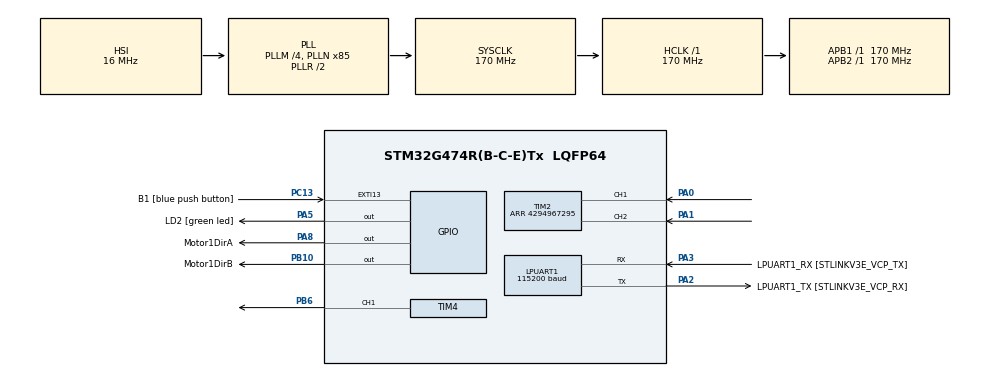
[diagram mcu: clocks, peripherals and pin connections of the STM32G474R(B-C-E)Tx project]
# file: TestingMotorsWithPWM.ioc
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LPUART1.BaudRate=115200
Mcu.Family=STM32G4
Mcu.Name=STM32G474R(B-C-E)Tx
Mcu.Package=LQFP64
NVIC.EXTI15_10_IRQn=true\:0\:0\:false\:false\:true\:true\:true\:true
NVIC.PriorityGroup=NVIC_PRIORITYGROUP_4
NVIC.TIM1_UP_TIM16_IRQn=true\:0\:0\:false\:true\:true\:1\:true\:true\:true
PA0.Signal=S_TIM2_CH1
PA1.Signal=S_TIM2_CH2
PA13.GPIO_Label=T_SWDIO
PA13.Mode=Serial_Wire
PA13.Signal=SYS_JTMS-SWDIO
PA14.GPIO_Label=T_SWCLK
PA14.Mode=Serial_Wire
PA14.Signal=SYS_JTCK-SWCLK
PA2.GPIO_Label=LPUART1_TX [STLINKV3E_VCP_RX]
PA2.Mode=Asynchronous
PA2.Signal=LPUART1_TX
PA3.GPIO_Label=LPUART1_RX [STLINKV3E_VCP_TX]
PA3.Mode=Asynchronous
PA3.Signal=LPUART1_RX
PA5.GPIO_Label=LD2 [green led]
PA5.Signal=GPIO_Output
PA8.GPIO_Label=Motor1DirA
PA8.Signal=GPIO_Output
PB10.GPIO_Label=Motor1DirB
PB10.Signal=GPIO_Output
PB3.GPIO_Label=T_SWO
PB3.Signal=SYS_JTDO-SWO
PB6.Signal=S_TIM4_CH1
PC13.GPIO_Label=B1 [blue push button]
PC13.Signal=GPXTI13
PC14-OSC32_IN.GPIO_Label=RCC_OSC32_IN
PC14-OSC32_IN.Mode=LSE-External-Oscillator
PC14-OSC32_IN.Signal=RCC_OSC32_IN
PC15-OSC32_OUT.GPIO_Label=RCC_OSC32_OUT
PC15-OSC32_OUT.Mode=LSE-External-Oscillator
PC15-OSC32_OUT.Signal=RCC_OSC32_OUT
PF0-OSC_IN.GPIO_Label=RCC_OSC_IN
PF0-OSC_IN.Mode=HSE-External-Oscillator
PF0-OSC_IN.Signal=RCC_OSC_IN
PF1-OSC_OUT.GPIO_Label=RCC_OSC_OUT
PF1-OSC_OUT.Mode=HSE-External-Oscillator
PF1-OSC_OUT.Signal=RCC_OSC_OUT
ProjectManager.HeapSize=0x200
ProjectManager.StackSize=0x400
ProjectManager.TargetToolchain=STM32CubeIDE
RCC.ADC12Freq_Value=170000000
RCC.ADC345Freq_Value=170000000
RCC.AHBFreq_Value=170000000
RCC.APB1Freq_Value=170000000
RCC.APB1TimFreq_Value=170000000
RCC.APB2Freq_Value=170000000
RCC.APB2TimFreq_Value=170000000
RCC.CortexFreq_Value=170000000
RCC.EXTERNAL_CLOCK_VALUE=12288000
RCC.HCLKFreq_Value=170000000
RCC.HSE_VALUE=24000000
RCC.HSI48_VALUE=48000000
RCC.HSI_VALUE=16000000
RCC.PLLM=RCC_PLLM_DIV4
RCC.PLLN=85
RCC.RTCClockSelection=RCC_RTCCLKSOURCE_LSE
RCC.SYSCLKFreq_VALUE=170000000
RCC.SYSCLKSource=RCC_SYSCLKSOURCE_PLLCLK
RCC.USBFreq_Value=170000000
RCC.VCOOutputFreq_Value=340000000
SH.S_TIM2_CH1.0=TIM2_CH1,Encoder_Interface
SH.S_TIM2_CH2.0=TIM2_CH2,Encoder_Interface
SH.S_TIM4_CH1.0=TIM4_CH1,PWM Generation1 CH1
TIM1.Channel-Output\ Compare1\ No\ Output=TIM_CHANNEL_1
TIM1.PeriodNoDither=99
TIM1.Prescaler=16999
TIM2.EncoderMode=TIM_ENCODERMODE_TI12
TIM2.IC1Filter=10
TIM2.IC2Filter=10
TIM2.PeriodNoDither=4294967295
TIM4.Channel-PWM\ Generation1\ CH1=TIM_CHANNEL_1
TIM4.PeriodNoDither=99
TIM4.Prescaler=16999
VP_SYS_VS_DBSignals.Mode=DisableDeadBatterySignals
VP_TIM1_VS_ClockSourceINT.Mode=Internal
VP_TIM1_VS_no_output1.Mode=Output Compare1 No Output
VP_TIM4_VS_ClockSourceINT.Mode=Internal
board=NUCLEO-G474RE

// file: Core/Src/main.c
/* USER CODE BEGIN Header */
/**
  ******************************************************************************
  * @file           : main.c
  * @brief          : Main program body
  ******************************************************************************
  * @attention
  *
  * Copyright (c) 2025 STMicroelectronics.
  * All rights reserved.
  *
  * This software is licensed under terms that can be found in the LICENSE file
  * in the root directory of this software component.
  * If no LICENSE file comes with this software, it is provided AS-IS.
  *
  ******************************************************************************
  */
/* USER CODE END Header */
#include "main.h"
#include "usart.h"
#include "tim.h"
#include "gpio.h"

/* USER CODE BEGIN Includes */
#include "motor_simple.h"
#include "Encoder.h"
#include "PID.h"
#include <stdio.h>
#include <string.h>
/* USER CODE END Includes */

/* USER CODE BEGIN PD */
#define PULSES_PER_REV 1320
#define ENCODER_DT  0.01f  // 10ms = 0.01s
/* USER CODE END PD */

/* USER CODE BEGIN PV */
//Motors
Motor_t Motor;
uint16_t PWM;

//Encoder
Encoder_t EncoderRight;
float EncoderRightSpeed = 0.0f;

//PID S
PID_t EncoderPid;

float EncoderP = 2.8;
float EncoderI = 28.0;
float EncoderD = 0.03;

float EncoderSampleTime = 0.01;

float EncoderMaxValue = 300.0;
float EncoderMinValue = -300.0;

float pwmInput = 0;

volatile float EncoderRightPidValue;
float SetVelocity = 100;

volatile uint8_t EncoderCallbackFlag = 0;

//printing via uart
char Message[128];
/* USER CODE END PV */

void SystemClock_Config(void);
static void MX_NVIC_Init(void);
/* USER CODE BEGIN PFP */
float MapValues(float MaxValue, float Value);

/* USER CODE END PFP */

int main(void)
{

  /* MCU Configuration--------------------------------------------------------*/

  /* Reset of all peripherals, Initializes the Flash interface and the Systick. */
  HAL_Init();

  /* Configure the system clock */
  SystemClock_Config();

  /* Initialize all configured peripherals */
  MX_GPIO_Init();
  MX_LPUART1_UART_Init();
  MX_TIM4_Init();
  MX_TIM2_Init();
  MX_TIM1_Init();

  /* Initialize interrupts */
  MX_NVIC_Init();
  /* USER CODE BEGIN 2 */
  HAL_TIM_Base_Start_IT(&htim1);
  HAL_TIM_Encoder_Start(&htim2, TIM_CHANNEL_ALL);
  HAL_TIM_PWM_Start(&htim4, TIM_CHANNEL_1);

  Motor_Init(&Motor, &htim4, TIM_CHANNEL_1, PWM, Motor1DirA_GPIO_Port, Motor1DirA_Pin, Motor1DirB_GPIO_Port, Motor1DirB_Pin);
  Encoder_Init(&EncoderRight, &htim2, PULSES_PER_REV, ENCODER_DT);
  PID_Init(&EncoderPid, EncoderP, EncoderI, EncoderD, EncoderSampleTime, EncoderMaxValue, EncoderMinValue);

  /* USER CODE END 2 */

  /* Infinite loop */
  /* USER CODE BEGIN WHILE */
  while (1)
  {
	  if(EncoderCallbackFlag)
	  {
		  EncoderCallbackFlag = 0;

		  sprintf(Message, "%.3f\n", EncoderRightSpeed);
		  HAL_UART_Transmit(&hlpuart1,(uint8_t*) Message, strlen(Message), HAL_MAX_DELAY);
	  }

    /* USER CODE END WHILE */

  }
}

void SystemClock_Config(void)
{
  RCC_OscInitTypeDef RCC_OscInitStruct = {0};
  RCC_ClkInitTypeDef RCC_ClkInitStruct = {0};

  /** Configure the main internal regulator output voltage
  */
  HAL_PWREx_ControlVoltageScaling(PWR_REGULATOR_VOLTAGE_SCALE1_BOOST);

  /** Initializes the RCC Oscillators according to the specified parameters
  * in the RCC_OscInitTypeDef structure.
  */
  RCC_OscInitStruct.OscillatorType = RCC_OSCILLATORTYPE_HSI;
  RCC_OscInitStruct.HSIState = RCC_HSI_ON;
  RCC_OscInitStruct.HSICalibrationValue = RCC_HSICALIBRATION_DEFAULT;
  RCC_OscInitStruct.PLL.PLLState = RCC_PLL_ON;
  RCC_OscInitStruct.PLL.PLLSource = RCC_PLLSOURCE_HSI;
  RCC_OscInitStruct.PLL.PLLM = RCC_PLLM_DIV4;
  RCC_OscInitStruct.PLL.PLLN = 85;
  RCC_OscInitStruct.PLL.PLLP = RCC_PLLP_DIV2;
  RCC_OscInitStruct.PLL.PLLQ = RCC_PLLQ_DIV2;
  RCC_OscInitStruct.PLL.PLLR = RCC_PLLR_DIV2;
  if (HAL_RCC_OscConfig(&RCC_OscInitStruct) != HAL_OK)
  {
    Error_Handler();
  }

  /** Initializes the CPU, AHB and APB buses clocks
  */
  RCC_ClkInitStruct.ClockType = RCC_CLOCKTYPE_HCLK|RCC_CLOCKTYPE_SYSCLK
                              |RCC_CLOCKTYPE_PCLK1|RCC_CLOCKTYPE_PCLK2;
  RCC_ClkInitStruct.SYSCLKSource = RCC_SYSCLKSOURCE_PLLCLK;
  RCC_ClkInitStruct.AHBCLKDivider = RCC_SYSCLK_DIV1;
  RCC_ClkInitStruct.APB1CLKDivider = RCC_HCLK_DIV1;
  RCC_ClkInitStruct.APB2CLKDivider = RCC_HCLK_DIV1;

  if (HAL_RCC_ClockConfig(&RCC_ClkInitStruct, FLASH_LATENCY_4) != HAL_OK)
  {
    Error_Handler();
  }
}

/**
  * @brief NVIC Configuration.
  * @retval None
  */
static void MX_NVIC_Init(void)
{
  /* TIM1_UP_TIM16_IRQn interrupt configuration */
  HAL_NVIC_SetPriority(TIM1_UP_TIM16_IRQn, 0, 0);
  HAL_NVIC_EnableIRQ(TIM1_UP_TIM16_IRQn);
}

/* USER CODE BEGIN 4 */
void HAL_TIM_PeriodElapsedCallback(TIM_HandleTypeDef *htim)
{
	if(htim->Instance == TIM1)
	{
		Encoder_Update(&EncoderRight);
		EncoderRightSpeed = EncoderRight.AngularVelocity;

		//calculating pid values
		EncoderRightPidValue = PID_Compute(&EncoderPid, EncoderRightSpeed, SetVelocity);

		uint8_t direction;

		// Checking sign of pid value
		if (EncoderRightPidValue >= 0)
		{
			direction = 1; // Forward
			pwmInput = EncoderRightPidValue;
		}
		else
		{
			direction = 0; // Backwards
			pwmInput = -EncoderRightPidValue;
		}

		// RMP to pwm percent
		float PidValueForMotorPercent = MapValues(EncoderMaxValue, EncoderRightPidValue);

		Motor_SetRideParameters(&Motor, PidValueForMotorPercent, direction);
		Motor_Ride(&Motor);

		EncoderCallbackFlag = 1;
	}
}
float MapValues(float MaxValue, float InputValue)
{
    // Calculate new value
    float pwmPercent = (fabsf(InputValue) * 100.0f) / MaxValue;

    // Saturation check
    if(pwmPercent > 100.0f) return 100.0f;
    return pwmPercent;
}
/* USER CODE END 4 */

void Error_Handler(void)
{
  __disable_irq();
  while (1)
  {
  }
}
